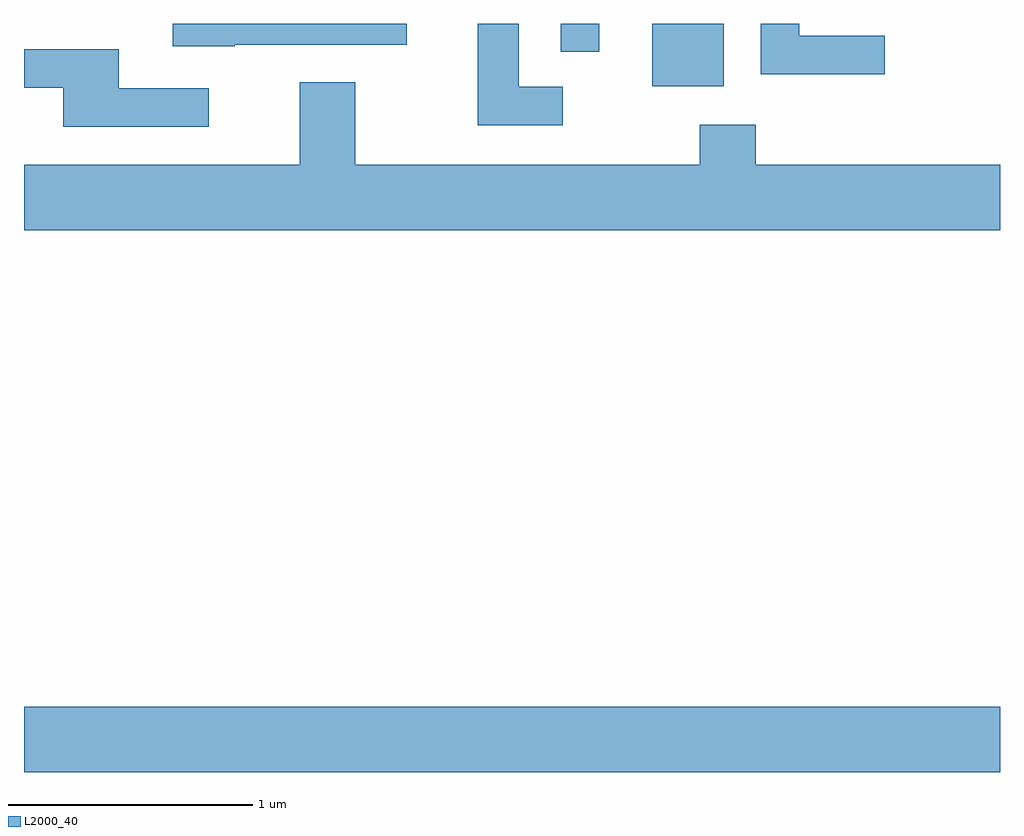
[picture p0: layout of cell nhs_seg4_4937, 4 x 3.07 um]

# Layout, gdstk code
import gdstk
lib = gdstk.Library(unit=1e-6, precision=1e-09)
def R(c, l, rs):  # rectangles x0, y0, x1, y1
    for r in rs: c.add(gdstk.rectangle(r[:2], r[2:], *l))
def P(c, l, *ps):  # polygons
    for p in ps: c.add(gdstk.Polygon(p, *l))
L2000_40 = (2000, 40)

nhs_seg4_4937 = lib.new_cell('nhs_seg4_4937')
R(nhs_seg4_4937, L2000_40, [(329.611,1336.916,333.611,1337.184), (332.186,1339.726,332.479,1339.982), (331.811,1339.868,331.969,1339.982)])
P(nhs_seg4_4937, L2000_40, [(330.475,1339.896),(331.179,1339.896),(331.179,1339.982),(330.221,1339.982),(330.221,1339.891),(330.475,1339.891)],
  [(331.818,1339.724),(331.639,1339.724),(331.639,1339.982),(331.471,1339.982),(331.471,1339.566),(331.818,1339.566)],
  [(333.138,1339.934),(332.789,1339.934),(332.789,1339.982),(332.631,1339.982),(332.631,1339.776),(333.138,1339.776)],
  [(330.368,1339.719),(329.999,1339.719),(329.999,1339.879),(329.611,1339.879),(329.611,1339.721),(329.771,1339.721),(329.771,1339.561),(330.368,1339.561)],
  [(333.611,1339.404),(332.609,1339.404),(332.609,1339.569),(332.381,1339.569),(332.381,1339.404),(330.969,1339.404),(330.969,1339.744),(330.741,1339.744),(330.741,1339.404),(329.611,1339.404),(329.611,1339.136),(333.611,1339.136)])

lib.write_gds('nhs_seg4_4937.gds')
